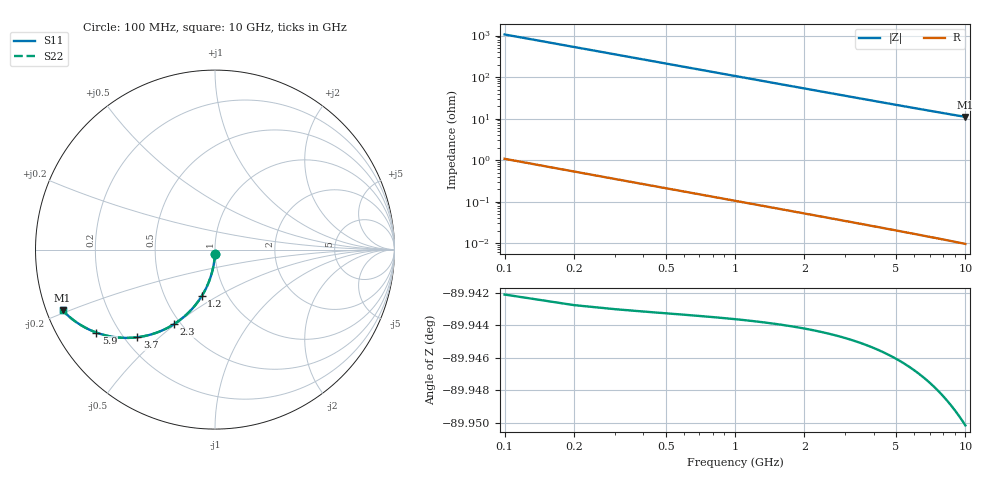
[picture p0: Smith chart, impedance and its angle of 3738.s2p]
# Hz S RI R 50.00
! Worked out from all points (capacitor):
!   100 points, 100 MHz to 10 GHz, reference 50 ohm
!   read as one part in shunt: C = 1.5 pF near 100 MHz
!   lowest |Z| = 11 ohm at 10 GHz (marker M1)
!   S11 on the Smith chart (normalised r, x): 100 MHz: 1.00, -0.05; 1.2 GHz: 0.76, -0.43; 2.3 GHz: 0.46, -0.49; 3.7 GHz: 0.25, -0.43; 5.9 GHz: 0.12, -0.31; 10 GHz: 0.05, -0.19
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1e8  -0.000531 -0.0234  0.9994 -0.0238  0.9994 -0.0238  -0.000531 -0.0234
2e8  -0.00222 -0.0468  0.9977 -0.0475  0.9977 -0.0475  -0.00222 -0.0468
3e8  -0.00501 -0.0699  0.9949 -0.071  0.9949 -0.071  -0.00501 -0.0699
4e8  -0.00888 -0.0929  0.991 -0.0943  0.991 -0.0943  -0.00888 -0.0929
5e8  -0.0138 -0.1155  0.9861 -0.1173  0.9861 -0.1173  -0.0138 -0.1155
6e8  -0.0198 -0.1378  0.9801 -0.1399  0.9801 -0.1399  -0.0198 -0.1378
7e8  -0.0267 -0.1596  0.9732 -0.1621  0.9732 -0.1621  -0.0267 -0.1596
9e8  -0.0433 -0.2016  0.9566 -0.2048  0.9566 -0.2048  -0.0433 -0.2016
1.2e9  -0.0745 -0.26  0.9254 -0.2643  0.9254 -0.2643  -0.0745 -0.26
1.5e9  -0.1116 -0.3118  0.8882 -0.3172  0.8882 -0.3172  -0.1116 -0.3118
1.8e9  -0.1532 -0.3565  0.8467 -0.3629  0.8467 -0.3629  -0.1532 -0.3565
2.3e9  -0.2279 -0.4149  0.7719 -0.4232  0.7719 -0.4232  -0.2279 -0.4149
2.8e9  -0.3043 -0.4546  0.6955 -0.4647  0.6955 -0.4647  -0.3043 -0.4546
3.4e9  -0.3921 -0.4816  0.6077 -0.4938  0.6077 -0.4938  -0.3921 -0.4816
3.7e9  -0.4331 -0.4884  0.5667 -0.5017  0.5667 -0.5017  -0.4331 -0.4884
4.4e9  -0.5194 -0.4912  0.4803 -0.507  0.4803 -0.507  -0.5194 -0.4912
5.1e9  -0.5923 -0.4816  0.4074 -0.5001  0.4074 -0.5001  -0.5923 -0.4816
5.9e9  -0.6606 -0.4622  0.339 -0.4836  0.339 -0.4836  -0.6606 -0.4622
6.7e9  -0.7154 -0.4384  0.2842 -0.4628  0.2842 -0.4628  -0.7154 -0.4384
7.5e9  -0.7594 -0.4131  0.2401 -0.4405  0.2401 -0.4405  -0.7594 -0.4131
8.4e9  -0.7987 -0.3848  0.2007 -0.4157  0.2007 -0.4157  -0.7987 -0.3848
1e10  -0.8496 -0.3379  0.1496 -0.3751  0.1496 -0.3751  -0.8496 -0.3379
